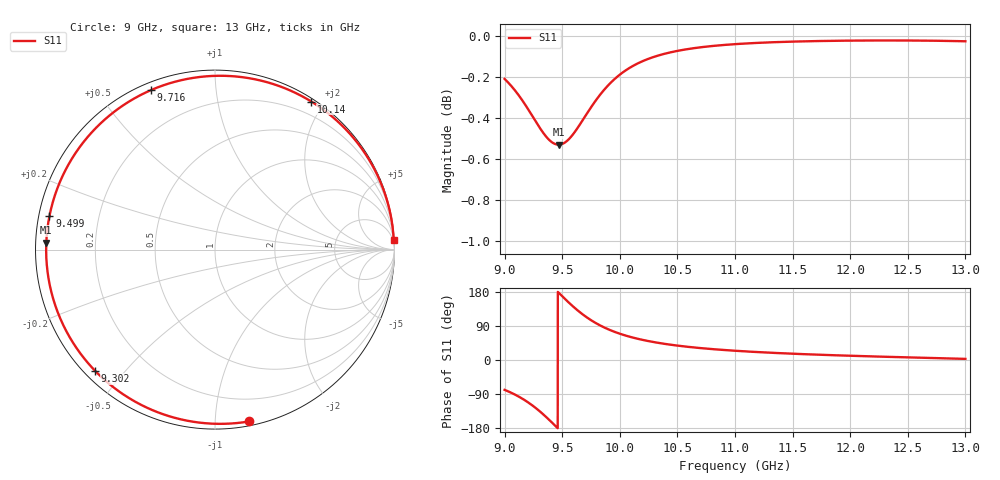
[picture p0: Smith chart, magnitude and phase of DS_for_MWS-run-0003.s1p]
! TOUCHSTONE file generated by CST DESIGN STUDIO
! Date and time: Tue Feb  4 13:10:23 2025
! Project name: C:\Work\MatlabApps\UnitCellOptimizationMatlab\CST\unitcell.cst
! Tree item: Tasks\Sweep1\SPara1\S-Parameters
! Header version: 2024
! Port assignment regex: !\s*Touchstone port\s*([0-9]+)\s*=\s*(CST MWS port|CST DES external port|CST DES block port)\s*(.+)\s* \(\"(.*)\"\)(\s*mode\s*([0-9]+))?.*
! Touchstone port assignment:
! Touchstone port 1 = CST DES external port 1 ("")
# GHz S MA R 50
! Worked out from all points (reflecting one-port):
!   4001 points, 9 GHz to 13 GHz, reference 50 ohm
!   lowest |S11| = -0.5 dB at 9.469 GHz (marker M1), VSWR 32.76, Z = 1.53 + j1.04 ohm
!   phase of S11 starts at -79 deg and turns -278 deg over the sweep
!   S11 on the Smith chart (normalised r, x): 9 GHz: 0.03, -1.22; 9.302 GHz: 0.03, -0.42; 9.499 GHz: 0.03, +0.10; 9.716 GHz: 0.03, +0.67; 10.14 GHz: 0.04, +1.85; 13 GHz: 2, +39
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9  0.976 -78.8
9.074  0.971 -88.8
9.171  0.9628 -105.3
9.239  0.9562 -119.4
9.302  0.95 -134.6
9.346  0.9461 -146.3
9.392  0.943 -159.4
9.431  0.9413 -171.0
9.469  0.9407 177.6
9.499  0.9411 168.6
9.5  0.9411 168.3
9.552  0.9433 153.0
9.611  0.9476 136.8
9.663  0.9523 123.8
9.716  0.9574 112.0
9.772  0.9626 101.0
9.834  0.9678 90.5
9.915  0.9736 79.1
10  0.9784 69.4
10.143  0.9841 56.9
10.304  0.9883 46.8
10.5  0.9914 38.0
10.722  0.9936 30.8
11  0.9952 24.4
11.5  0.9966 16.6
12  0.9972 11.2
12.5  0.9972 6.9
13  0.9968 3.0
